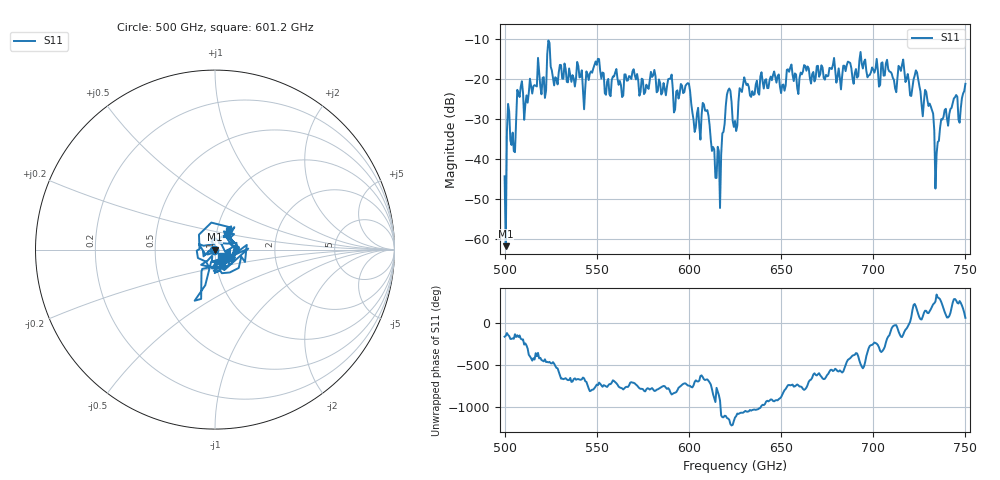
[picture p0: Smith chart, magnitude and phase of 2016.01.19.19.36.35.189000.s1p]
!Created with skrf (http://scikit-rf.org).
# GHz S RI R 50.0
!freq ReS11 ImS11
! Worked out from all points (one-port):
!   401 points, 500 GHz to 750 GHz, reference 50 ohm
!   lowest |S11| = -61.8 dB at 500.6 GHz (marker M1), VSWR 1.00, Z = 49.9 - j0.034 ohm
!   |S11| at or under -10 dB: start of sweep to end of sweep
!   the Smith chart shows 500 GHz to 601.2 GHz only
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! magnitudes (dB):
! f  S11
! 500 GHz  -44.3
! 500.6 GHz  -61.8
! 502.5 GHz  -28.1
! 504.4 GHz  -33.3
! 508.1 GHz  -24.4
! 521.2 GHz  -19.5
! 524.4 GHz  -10.9
! 527.5 GHz  -19.5
! 531.2 GHz  -19.8
! 543.8 GHz  -22.2
! 550 GHz  -16.4
! 562.5 GHz  -20.4
! 580.6 GHz  -19.0
! 593.8 GHz  -22.8
! 599.4 GHz  -21.0
! 605 GHz  -27.1
! 608.8 GHz  -27.8
! 615.6 GHz  -36.9
! 621.2 GHz  -22.8
! 625 GHz  -30.4
! 630.6 GHz  -20.6
! 656.2 GHz  -18.9
! 687.5 GHz  -15.9
! 718.8 GHz  -18.7
! 729.4 GHz  -25.2
! 734.4 GHz  -38.7
! 738.1 GHz  -29.4
! 750 GHz  -21.1
